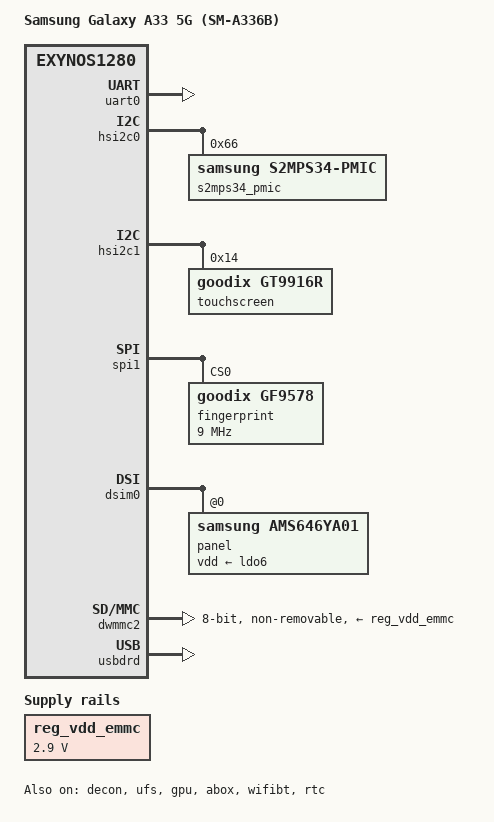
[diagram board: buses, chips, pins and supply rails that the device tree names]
// SPDX-License-Identifier: GPL-2.0
/*
 * Samsung Galaxy A33 5G (SM-A336B) Device Tree
 *
 * Board-level peripherals: PMIC (S2MPS34), touchscreen, display panel,
 * fingerprint, UFS storage, USB. Base SoC nodes come from exynos1280.dtsi
 * (transcribed from Samsung firmware).
 */

/dts-v1/;

#include "exynos1280.dtsi"
#include <dt-bindings/gpio/gpio.h>
#include <dt-bindings/interrupt-controller/irq.h>

/ {
	model = "Samsung Galaxy A33 5G (SM-A336B)";
	compatible = "samsung,a33x", "samsung,exynos1280";

	chosen {
		bootargs = "androidboot.hardware=exynos1280 clk_ignore_unused firmware_class.path=/vendor/firmware loop.max_part=7";
	};

	memory@80000000 {
		device_type = "memory";
		reg = <0x0 0x80000000 0x180000000>;
	};

	reg_vdd_emmc: regulator-vdd-emmc {
		compatible = "regulator-fixed";
		regulator-name = "vdd_emmc";
		regulator-min-microvolt = <2900000>;
		regulator-max-microvolt = <2900000>;
		regulator-always-on;
	};
};

&uart0 {
	status = "okay";
};

&hsi2c0 {
	status = "okay";

	s2mps34_pmic: pmic@66 {
		compatible = "samsung,s2mps34-pmic";
		reg = <0x66>;
	};
};

&hsi2c1 {
	status = "okay";

	touchscreen@14 {
		compatible = "goodix,gt9916r";
		reg = <0x14>;
	};
};

&spi1 {
	status = "okay";

	fingerprint@0 {
		compatible = "goodix,gf9578";
		reg = <0>;
		spi-max-frequency = <9000000>;
	};
};

&decon {
	status = "okay";
};

&dsim0 {
	status = "okay";

	panel@0 {
		compatible = "samsung,ams646ya01";
		reg = <0>;
		vdd-supply = <&ldo6>;
	};
};

&ufs {
	status = "okay";
};

&dwmmc2 {
	status = "okay";
	bus-width = <8>;
	cap-mmc-highspeed;
	mmc-hs200-1_8v;
	mmc-hs400-1_8v;
	non-removable;
	vmmc-supply = <&reg_vdd_emmc>;
};

&usbdrd {
	status = "okay";
};

&gpu {
	status = "okay";
};

&abox {
	status = "okay";
};

&wifibt {
	status = "okay";
};

&rtc {
	status = "okay";
};
